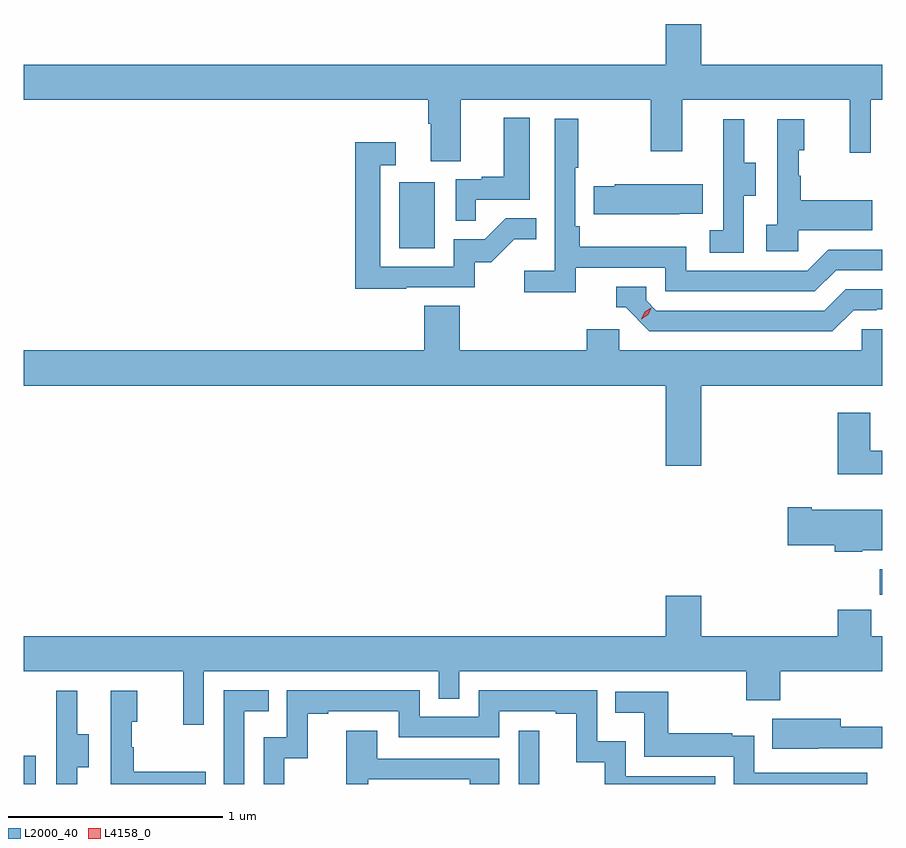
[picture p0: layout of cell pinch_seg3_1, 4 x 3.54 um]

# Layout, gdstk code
import gdstk
lib = gdstk.Library(unit=1e-6, precision=1e-09)
def R(c, l, rs):  # rectangles x0, y0, x1, y1
    for r in rs: c.add(gdstk.rectangle(r[:2], r[2:], *l))
def P(c, l, *ps):  # polygons
    for p in ps: c.add(gdstk.Polygon(p, *l))
L2000_40 = (2000, 40)
L4158_0 = (4158, 0)

pinch_seg3_1 = lib.new_cell('pinch_seg3_1')
R(pinch_seg3_1, L2000_40, [(1133.044,741.683,1133.099,741.814), (1135.35,741.683,1135.447,741.931), (1137.034,742.566,1137.044,742.684), (1134.794,744.18,1134.958,744.487)])
P(pinch_seg3_1, L2000_40, [(1135.081,744.872),(1135.966,744.872),(1135.966,744.633),(1136.113,744.633),(1136.113,744.872),(1136.894,744.872),(1136.894,744.624),(1136.991,744.624),(1136.991,744.872),(1137.044,744.872),(1137.044,745.036),(1136.2,745.036),(1136.2,745.225),(1136.036,745.225),(1136.036,745.036),(1133.044,745.036),(1133.044,744.872),(1134.929,744.872),(1134.929,744.76),(1134.941,744.76),(1134.941,744.586),(1135.081,744.586)],
  [(1135.151,744.405),(1135.402,744.405),(1135.402,744.787),(1135.28,744.787),(1135.28,744.514),(1135.177,744.514),(1135.177,744.501),(1135.056,744.501),(1135.056,744.307),(1135.151,744.307)],
  [(1135.616,744.09),(1136.034,744.09),(1136.034,743.979),(1136.731,743.979),(1136.83,744.078),(1137.044,744.078),(1137.044,744.174),(1136.793,744.174),(1136.694,744.075),(1136.13,744.075),(1136.13,744.187),(1135.634,744.187),(1135.634,744.283),(1135.614,744.283),(1135.614,744.556),(1135.627,744.556),(1135.627,744.784),(1135.518,744.784),(1135.518,744.076),(1135.377,744.076),(1135.377,743.974),(1135.616,743.974)],
  [(1136.4,744.424),(1136.455,744.424),(1136.455,744.579),(1136.401,744.579),(1136.401,744.781),(1136.303,744.781),(1136.303,744.567),(1136.304,744.567),(1136.304,744.263),(1136.241,744.263),(1136.241,744.16),(1136.4,744.16)],
  [(1136.652,744.263),(1136.999,744.263),(1136.999,744.403),(1136.665,744.403),(1136.665,744.518),(1136.655,744.518),(1136.655,744.636),(1136.68,744.636),(1136.68,744.781),(1136.556,744.781),(1136.556,744.29),(1136.505,744.29),(1136.505,744.165),(1136.652,744.165)],
  [(1134.827,743.997),(1135.146,743.997),(1135.146,744.114),(1135.222,744.114),(1135.329,744.221),(1135.433,744.221),(1135.433,744.32),(1135.29,744.32),(1135.192,744.222),(1135.047,744.222),(1135.047,744.093),(1134.705,744.093),(1134.705,744.567),(1134.778,744.567),(1134.778,744.673),(1134.589,744.673),(1134.589,743.992),(1134.827,743.992)],
  [(1136.099,744.341),(1136.207,744.341),(1136.207,744.478),(1135.797,744.478),(1135.797,744.468),(1135.699,744.468),(1135.699,744.338),(1136.099,744.338)],
  [(1136.911,743.892),(1137.018,743.892),(1137.018,743.895),(1137.044,743.895),(1137.044,743.988),(1136.874,743.988),(1136.775,743.889),(1135.992,743.889),(1135.944,743.937),(1135.944,744),(1135.805,744),(1135.805,743.904),(1135.848,743.904),(1135.959,743.793),(1136.812,743.793)],
  [(1136.2,743.54),(1137.044,743.54),(1137.044,743.802),(1136.949,743.802),(1136.949,743.704),(1135.818,743.704),(1135.818,743.802),(1135.667,743.802),(1135.667,743.704),(1135.076,743.704),(1135.076,743.912),(1134.911,743.912),(1134.911,743.704),(1133.044,743.704),(1133.044,743.54),(1136.036,743.54),(1136.036,743.166),(1136.2,743.166)],
  [(1137.044,743.236),(1136.989,743.236),(1136.989,743.413),(1136.837,743.413),(1136.837,743.126),(1137.044,743.126)],
  [(1136.952,742.772),(1137.044,742.772),(1137.044,742.96),(1136.716,742.96),(1136.716,742.973),(1136.604,742.973),(1136.604,742.795),(1136.822,742.795),(1136.822,742.766),(1136.952,742.766)],
  [(1133.883,742.208),(1134.978,742.208),(1134.978,742.081),(1135.074,742.081),(1135.074,742.208),(1136.41,742.208),(1136.41,742.073),(1136.57,742.073),(1136.57,742.208),(1137.044,742.208),(1137.044,742.372),(1136.993,742.372),(1136.993,742.496),(1136.837,742.496),(1136.837,742.372),(1136.2,742.372),(1136.2,742.561),(1136.036,742.561),(1136.036,742.372),(1133.044,742.372),(1133.044,742.208),(1133.786,742.208),(1133.786,741.96),(1133.883,741.96)],
  [(1134.258,741.803),(1134.368,741.803),(1134.368,742.011),(1134.463,742.011),(1134.463,742.023),(1134.792,742.023),(1134.792,741.9),(1135.26,741.9),(1135.26,742.023),(1135.523,742.023),(1135.523,742.011),(1135.619,742.011),(1135.619,741.785),(1135.752,741.785),(1135.752,741.683),(1136.267,741.683),(1136.267,741.72),(1135.848,741.72),(1135.848,741.883),(1135.716,741.883),(1135.716,742.119),(1135.164,742.119),(1135.164,741.996),(1134.888,741.996),(1134.888,742.119),(1134.27,742.119),(1134.27,741.9),(1134.162,741.9),(1134.162,741.683),(1134.258,741.683)],
  [(1134.072,742.023),(1134.185,742.023),(1134.185,742.119),(1133.976,742.119),(1133.976,741.683),(1134.072,741.683)],
  [(1133.292,741.76),(1133.347,741.76),(1133.347,741.915),(1133.293,741.915),(1133.293,742.117),(1133.195,742.117),(1133.195,741.903),(1133.196,741.903),(1133.196,741.683),(1133.292,741.683)],
  [(1133.891,741.739),(1133.557,741.739),(1133.557,741.854),(1133.547,741.854),(1133.547,741.972),(1133.572,741.972),(1133.572,742.117),(1133.448,742.117),(1133.448,741.683),(1133.891,741.683)],
  [(1136.974,741.735),(1136.448,741.735),(1136.448,741.907),(1136.345,741.907),(1136.345,741.919),(1136.047,741.919),(1136.047,742.113),(1135.801,742.113),(1135.801,742.016),(1135.936,742.016),(1135.936,741.81),(1136.352,741.81),(1136.352,741.683),(1136.974,741.683)],
  [(1136.747,741.849),(1137.044,741.849),(1137.044,741.95),(1136.851,741.95),(1136.851,741.988),(1136.533,741.988),(1136.533,741.848),(1136.747,741.848)],
  [(1134.649,741.705),(1135.123,741.705),(1135.123,741.683),(1135.26,741.683),(1135.26,741.801),(1134.691,741.801),(1134.691,741.931),(1134.547,741.931),(1134.547,741.683),(1134.649,741.683)])
P(pinch_seg3_1, L4158_0, [(1135.922,743.85),(1135.922,743.85),(1135.938,743.883),(1135.968,743.903),(1135.968,743.903),(1135.968,743.903),(1135.953,743.87),(1135.922,743.85)])

lib.write_gds('pinch_seg3_1.gds')
